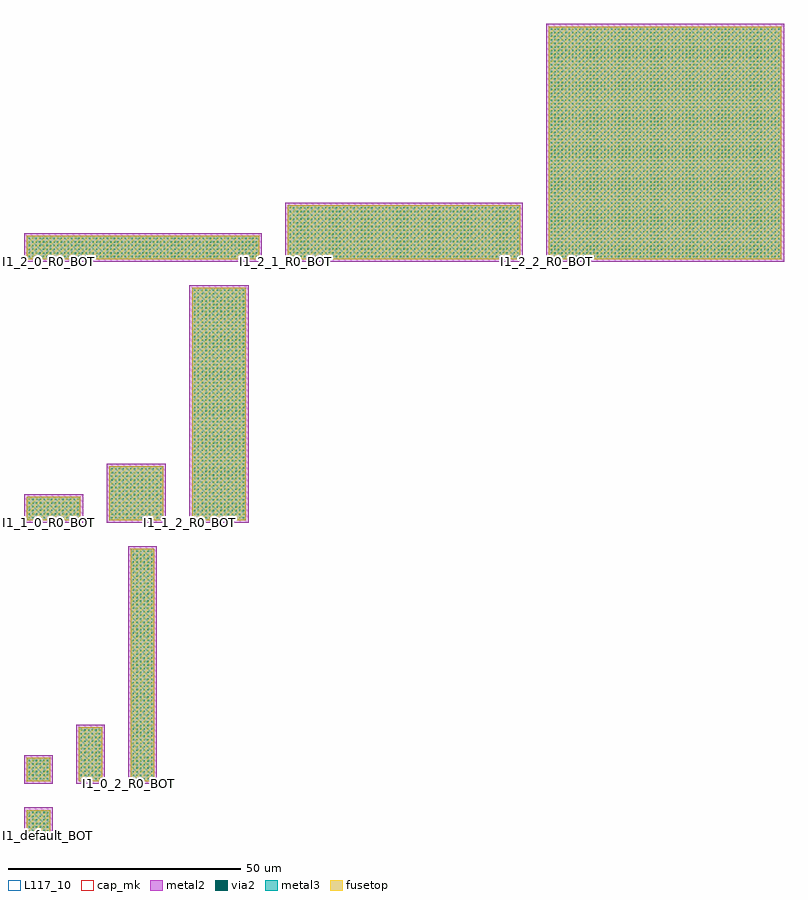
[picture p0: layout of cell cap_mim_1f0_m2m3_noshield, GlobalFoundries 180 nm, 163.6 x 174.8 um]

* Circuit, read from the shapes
.subckt cap_mim_1f0_m2m3_noshield I1_0_0_R0_BOT I1_0_0_R0_TOP I1_0_1_R0_BOT I1_0_1_R0_TOP I1_0_2_R0_BOT I1_0_2_R0_TOP I1_1_0_R0_BOT I1_1_0_R0_TOP I1_1_1_R0_BOT I1_1_1_R0_TOP I1_1_2_R0_BOT I1_1_2_R0_TOP I1_2_0_R0_BOT I1_2_0_R0_TOP I1_2_1_R0_BOT I1_2_1_R0_TOP I1_2_2_R0_BOT I1_2_2_R0_TOP I1_default_BOT I1_default_TOP
XC1 I1_default_TOP I1_default_BOT cap_mim_2f0fF c_width=5u c_length=5u
XC2 I1_0_0_R0_TOP I1_0_0_R0_BOT cap_mim_2f0fF c_width=5u c_length=5u
XC3 I1_1_0_R0_TOP I1_1_0_R0_BOT cap_mim_2f0fF c_width=11.56u c_length=5u
XC4 I1_2_0_R0_TOP I1_2_0_R0_BOT cap_mim_2f0fF c_width=50u c_length=5u
XC5 I1_0_1_R0_TOP I1_0_1_R0_BOT cap_mim_2f0fF c_width=5u c_length=11.56u
XC6 I1_1_1_R0_TOP I1_1_1_R0_BOT cap_mim_2f0fF c_width=11.56u c_length=11.56u
XC7 I1_0_2_R0_TOP I1_0_2_R0_BOT cap_mim_2f0fF c_width=5u c_length=50u
XC8 I1_1_2_R0_TOP I1_1_2_R0_BOT cap_mim_2f0fF c_width=11.56u c_length=50u
XC9 I1_2_1_R0_TOP I1_2_1_R0_BOT cap_mim_2f0fF c_width=50u c_length=11.56u
XC10 I1_2_2_R0_TOP I1_2_2_R0_BOT cap_mim_2f0fF c_width=50u c_length=50u
.ends

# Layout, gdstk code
import gdstk
lib = gdstk.Library(unit=1e-6, precision=1e-09)
def R(c, l, rs):  # rectangles x0, y0, x1, y1
    for r in rs: c.add(gdstk.rectangle(r[:2], r[2:], *l))
def A(c, l, x, y, w, h, nx, ny, dx, dy):  # array of equal rectangles
    R(c, l, [(x+i*dx, y+j*dy, x+i*dx+w, y+j*dy+h) for i in range(nx) for j in range(ny)])
metal2 = (36, 0)
via2 = (38, 0)
metal3 = (42, 0)
fusetop = (75, 0)
cap_mk = (117, 5)
L117_10 = (117, 10)

cap_mim_1p0ff_cdns_63091 = lib.new_cell('cap_mim_1p0fF_CDNS_630918095510')
R(cap_mim_1p0ff_cdns_63091, metal2, [(-0.6,-0.6,5.6,5.6)])
A(cap_mim_1p0ff_cdns_63091, via2, 0.4, 0.4, 0.26, 0.26, 4, 4, 0.79, 0.79)
A(cap_mim_1p0ff_cdns_63091, via2, 3.555, 0.4, 0.26, 0.26, 1, 4, 0, 0.79)
A(cap_mim_1p0ff_cdns_63091, via2, 4.34, 0.4, 0.26, 0.26, 1, 4, 0, 0.79)
A(cap_mim_1p0ff_cdns_63091, via2, 0.4, 3.555, 0.26, 0.26, 4, 2, 0.79, 0.785)
R(cap_mim_1p0ff_cdns_63091, via2, [(3.555,3.555,3.815,3.815), (4.34,3.555,4.6,3.815), (3.555,4.34,3.815,4.6), (4.34,4.34,4.6,4.6)])
R(cap_mim_1p0ff_cdns_63091, metal3, [(0,0,5,5)])
R(cap_mim_1p0ff_cdns_63091, fusetop, [(0,0,5,5)])
R(cap_mim_1p0ff_cdns_63091, cap_mk, [(-0.6,-0.6,5.6,5.6)])
R(cap_mim_1p0ff_cdns_63091, L117_10, [(0,0,5,0.1)])
cap_mim_1p0ff_cdns_63091.add(gdstk.Label('BOT', (2.5,2.5), layer=36, texttype=0))
cap_mim_1p0ff_cdns_63091.add(gdstk.Label('TOP', (2.5,2.5), layer=42, texttype=0))

c_cap_mim_1p0ff_cdns_63091 = lib.new_cell('cap_mim_1p0fF_CDNS_630918095511')
R(c_cap_mim_1p0ff_cdns_63091, metal2, [(-0.6,-0.6,5.6,5.6)])
A(c_cap_mim_1p0ff_cdns_63091, via2, 0.4, 0.4, 0.26, 0.26, 4, 4, 0.79, 0.79)
A(c_cap_mim_1p0ff_cdns_63091, via2, 3.555, 0.4, 0.26, 0.26, 1, 4, 0, 0.79)
A(c_cap_mim_1p0ff_cdns_63091, via2, 4.34, 0.4, 0.26, 0.26, 1, 4, 0, 0.79)
A(c_cap_mim_1p0ff_cdns_63091, via2, 0.4, 3.555, 0.26, 0.26, 4, 2, 0.79, 0.785)
R(c_cap_mim_1p0ff_cdns_63091, via2, [(3.555,3.555,3.815,3.815), (4.34,3.555,4.6,3.815), (3.555,4.34,3.815,4.6), (4.34,4.34,4.6,4.6)])
R(c_cap_mim_1p0ff_cdns_63091, metal3, [(0,0,5,5)])
R(c_cap_mim_1p0ff_cdns_63091, fusetop, [(0,0,5,5)])
R(c_cap_mim_1p0ff_cdns_63091, cap_mk, [(-0.6,-0.6,5.6,5.6)])
R(c_cap_mim_1p0ff_cdns_63091, L117_10, [(0,0,5,0.1)])
c_cap_mim_1p0ff_cdns_63091.add(gdstk.Label('BOT', (2.5,2.5), layer=36, texttype=0))
c_cap_mim_1p0ff_cdns_63091.add(gdstk.Label('TOP', (2.5,2.5), layer=42, texttype=0))

c_cap_mim_1p0ff_cdns_63091_ = lib.new_cell('cap_mim_1p0fF_CDNS_630918095512')
R(c_cap_mim_1p0ff_cdns_63091_, metal2, [(-0.6,-0.6,5.6,12.16)])
A(c_cap_mim_1p0ff_cdns_63091_, via2, 0.4, 0.4, 0.26, 0.26, 4, 8, 0.79, 0.81)
A(c_cap_mim_1p0ff_cdns_63091_, via2, 3.555, 0.4, 0.26, 0.26, 1, 8, 0, 0.81)
A(c_cap_mim_1p0ff_cdns_63091_, via2, 4.34, 0.4, 0.26, 0.26, 1, 8, 0, 0.81)
A(c_cap_mim_1p0ff_cdns_63091_, via2, 0.4, 6.875, 0.26, 0.26, 4, 6, 0.79, 0.805)
A(c_cap_mim_1p0ff_cdns_63091_, via2, 3.555, 6.875, 0.26, 0.26, 1, 6, 0, 0.805)
A(c_cap_mim_1p0ff_cdns_63091_, via2, 4.34, 6.875, 0.26, 0.26, 1, 6, 0, 0.805)
R(c_cap_mim_1p0ff_cdns_63091_, metal3, [(0,0,5,11.56)])
R(c_cap_mim_1p0ff_cdns_63091_, fusetop, [(0,0,5,11.56)])
R(c_cap_mim_1p0ff_cdns_63091_, cap_mk, [(-0.6,-0.6,5.6,12.16)])
R(c_cap_mim_1p0ff_cdns_63091_, L117_10, [(0,0,5,0.1)])
c_cap_mim_1p0ff_cdns_63091_.add(gdstk.Label('BOT', (2.5,5.78), layer=36, texttype=0))
c_cap_mim_1p0ff_cdns_63091_.add(gdstk.Label('TOP', (2.5,5.78), layer=42, texttype=0))

c_cap_mim_1p0ff_cdns_63091__ = lib.new_cell('cap_mim_1p0fF_CDNS_630918095513')
R(c_cap_mim_1p0ff_cdns_63091__, metal2, [(-0.6,-0.6,5.6,50.6)])
A(c_cap_mim_1p0ff_cdns_63091__, via2, 0.4, 0.4, 0.26, 0.26, 4, 61, 0.79, 0.765)
A(c_cap_mim_1p0ff_cdns_63091__, via2, 3.555, 0.4, 0.26, 0.26, 1, 61, 0, 0.765)
A(c_cap_mim_1p0ff_cdns_63091__, via2, 4.34, 0.4, 0.26, 0.26, 1, 61, 0, 0.765)
A(c_cap_mim_1p0ff_cdns_63091__, via2, 0.4, 47.06, 0.26, 0.26, 4, 4, 0.79, 0.76)
A(c_cap_mim_1p0ff_cdns_63091__, via2, 3.555, 47.06, 0.26, 0.26, 1, 4, 0, 0.76)
A(c_cap_mim_1p0ff_cdns_63091__, via2, 4.34, 47.06, 0.26, 0.26, 1, 4, 0, 0.76)
R(c_cap_mim_1p0ff_cdns_63091__, metal3, [(0,0,5,50)])
R(c_cap_mim_1p0ff_cdns_63091__, fusetop, [(0,0,5,50)])
R(c_cap_mim_1p0ff_cdns_63091__, cap_mk, [(-0.6,-0.6,5.6,50.6)])
R(c_cap_mim_1p0ff_cdns_63091__, L117_10, [(0,0,5,0.1)])
c_cap_mim_1p0ff_cdns_63091__.add(gdstk.Label('BOT', (2.5,25), layer=36, texttype=0))
c_cap_mim_1p0ff_cdns_63091__.add(gdstk.Label('TOP', (2.5,25), layer=42, texttype=0))

c_cap_mim_1p0ff_cdns_63091___ = lib.new_cell('cap_mim_1p0fF_CDNS_630918095514')
R(c_cap_mim_1p0ff_cdns_63091___, metal2, [(-0.6,-0.6,12.16,5.6)])
A(c_cap_mim_1p0ff_cdns_63091___, via2, 0.4, 0.4, 0.26, 0.26, 8, 4, 0.81, 0.79)
A(c_cap_mim_1p0ff_cdns_63091___, via2, 6.875, 0.4, 0.26, 0.26, 6, 4, 0.805, 0.79)
A(c_cap_mim_1p0ff_cdns_63091___, via2, 0.4, 3.555, 0.26, 0.26, 8, 2, 0.81, 0.785)
A(c_cap_mim_1p0ff_cdns_63091___, via2, 6.875, 3.555, 0.26, 0.26, 6, 2, 0.805, 0.785)
R(c_cap_mim_1p0ff_cdns_63091___, metal3, [(0,0,11.56,5)])
R(c_cap_mim_1p0ff_cdns_63091___, fusetop, [(0,0,11.56,5)])
R(c_cap_mim_1p0ff_cdns_63091___, cap_mk, [(-0.6,-0.6,12.16,5.6)])
R(c_cap_mim_1p0ff_cdns_63091___, L117_10, [(0,0,11.56,0.1)])
c_cap_mim_1p0ff_cdns_63091___.add(gdstk.Label('BOT', (5.78,2.5), layer=36, texttype=0))
c_cap_mim_1p0ff_cdns_63091___.add(gdstk.Label('TOP', (5.78,2.5), layer=42, texttype=0))

c_cap_mim_1p0ff_cdns_63091____ = lib.new_cell('cap_mim_1p0fF_CDNS_630918095515')
R(c_cap_mim_1p0ff_cdns_63091____, metal2, [(-0.6,-0.6,12.16,12.16)])
A(c_cap_mim_1p0ff_cdns_63091____, via2, 0.4, 0.4, 0.26, 0.26, 8, 8, 0.81, 0.81)
A(c_cap_mim_1p0ff_cdns_63091____, via2, 6.875, 0.4, 0.26, 0.26, 6, 8, 0.805, 0.81)
A(c_cap_mim_1p0ff_cdns_63091____, via2, 0.4, 6.875, 0.26, 0.26, 8, 6, 0.81, 0.805)
A(c_cap_mim_1p0ff_cdns_63091____, via2, 6.875, 6.875, 0.26, 0.26, 6, 6, 0.805, 0.805)
R(c_cap_mim_1p0ff_cdns_63091____, metal3, [(0,0,11.56,11.56)])
R(c_cap_mim_1p0ff_cdns_63091____, fusetop, [(0,0,11.56,11.56)])
R(c_cap_mim_1p0ff_cdns_63091____, cap_mk, [(-0.6,-0.6,12.16,12.16)])
R(c_cap_mim_1p0ff_cdns_63091____, L117_10, [(0,0,11.56,0.1)])
c_cap_mim_1p0ff_cdns_63091____.add(gdstk.Label('BOT', (5.78,5.78), layer=36, texttype=0))
c_cap_mim_1p0ff_cdns_63091____.add(gdstk.Label('TOP', (5.78,5.78), layer=42, texttype=0))

c_cap_mim_1p0ff_cdns_63091_____ = lib.new_cell('cap_mim_1p0fF_CDNS_630918095516')
R(c_cap_mim_1p0ff_cdns_63091_____, metal2, [(-0.6,-0.6,12.16,50.6)])
A(c_cap_mim_1p0ff_cdns_63091_____, via2, 0.4, 0.4, 0.26, 0.26, 8, 61, 0.81, 0.765)
A(c_cap_mim_1p0ff_cdns_63091_____, via2, 6.875, 0.4, 0.26, 0.26, 6, 61, 0.805, 0.765)
A(c_cap_mim_1p0ff_cdns_63091_____, via2, 0.4, 47.06, 0.26, 0.26, 8, 4, 0.81, 0.76)
A(c_cap_mim_1p0ff_cdns_63091_____, via2, 6.875, 47.06, 0.26, 0.26, 6, 4, 0.805, 0.76)
R(c_cap_mim_1p0ff_cdns_63091_____, metal3, [(0,0,11.56,50)])
R(c_cap_mim_1p0ff_cdns_63091_____, fusetop, [(0,0,11.56,50)])
R(c_cap_mim_1p0ff_cdns_63091_____, cap_mk, [(-0.6,-0.6,12.16,50.6)])
R(c_cap_mim_1p0ff_cdns_63091_____, L117_10, [(0,0,11.56,0.1)])
c_cap_mim_1p0ff_cdns_63091_____.add(gdstk.Label('BOT', (5.78,25), layer=36, texttype=0))
c_cap_mim_1p0ff_cdns_63091_____.add(gdstk.Label('TOP', (5.78,25), layer=42, texttype=0))

c_cap_mim_1p0ff_cdns_63091______ = lib.new_cell('cap_mim_1p0fF_CDNS_630918095517')
R(c_cap_mim_1p0ff_cdns_63091______, metal2, [(-0.6,-0.6,50.6,5.6)])
A(c_cap_mim_1p0ff_cdns_63091______, via2, 0.4, 0.4, 0.26, 0.26, 61, 4, 0.765, 0.79)
A(c_cap_mim_1p0ff_cdns_63091______, via2, 47.06, 0.4, 0.26, 0.26, 4, 4, 0.76, 0.79)
A(c_cap_mim_1p0ff_cdns_63091______, via2, 0.4, 3.555, 0.26, 0.26, 61, 2, 0.765, 0.785)
A(c_cap_mim_1p0ff_cdns_63091______, via2, 47.06, 3.555, 0.26, 0.26, 4, 2, 0.76, 0.785)
R(c_cap_mim_1p0ff_cdns_63091______, metal3, [(0,0,50,5)])
R(c_cap_mim_1p0ff_cdns_63091______, fusetop, [(0,0,50,5)])
R(c_cap_mim_1p0ff_cdns_63091______, cap_mk, [(-0.6,-0.6,50.6,5.6)])
R(c_cap_mim_1p0ff_cdns_63091______, L117_10, [(0,0,50,0.1)])
c_cap_mim_1p0ff_cdns_63091______.add(gdstk.Label('BOT', (25,2.5), layer=36, texttype=0))
c_cap_mim_1p0ff_cdns_63091______.add(gdstk.Label('TOP', (25,2.5), layer=42, texttype=0))

c_cap_mim_1p0ff_cdns_63091_______ = lib.new_cell('cap_mim_1p0fF_CDNS_630918095518')
R(c_cap_mim_1p0ff_cdns_63091_______, metal2, [(-0.6,-0.6,50.6,12.16)])
A(c_cap_mim_1p0ff_cdns_63091_______, via2, 0.4, 0.4, 0.26, 0.26, 61, 8, 0.765, 0.81)
A(c_cap_mim_1p0ff_cdns_63091_______, via2, 47.06, 0.4, 0.26, 0.26, 4, 8, 0.76, 0.81)
A(c_cap_mim_1p0ff_cdns_63091_______, via2, 0.4, 6.875, 0.26, 0.26, 61, 6, 0.765, 0.805)
A(c_cap_mim_1p0ff_cdns_63091_______, via2, 47.06, 6.875, 0.26, 0.26, 4, 6, 0.76, 0.805)
R(c_cap_mim_1p0ff_cdns_63091_______, metal3, [(0,0,50,11.56)])
R(c_cap_mim_1p0ff_cdns_63091_______, fusetop, [(0,0,50,11.56)])
R(c_cap_mim_1p0ff_cdns_63091_______, cap_mk, [(-0.6,-0.6,50.6,12.16)])
R(c_cap_mim_1p0ff_cdns_63091_______, L117_10, [(0,0,50,0.1)])
c_cap_mim_1p0ff_cdns_63091_______.add(gdstk.Label('BOT', (25,5.78), layer=36, texttype=0))
c_cap_mim_1p0ff_cdns_63091_______.add(gdstk.Label('TOP', (25,5.78), layer=42, texttype=0))

c_cap_mim_1p0ff_cdns_63091________ = lib.new_cell('cap_mim_1p0fF_CDNS_630918095519')
R(c_cap_mim_1p0ff_cdns_63091________, metal2, [(-0.6,-0.6,50.6,50.6)])
A(c_cap_mim_1p0ff_cdns_63091________, via2, 0.4, 0.4, 0.26, 0.26, 61, 61, 0.765, 0.765)
A(c_cap_mim_1p0ff_cdns_63091________, via2, 47.06, 0.4, 0.26, 0.26, 4, 61, 0.76, 0.765)
A(c_cap_mim_1p0ff_cdns_63091________, via2, 0.4, 47.06, 0.26, 0.26, 61, 4, 0.765, 0.76)
A(c_cap_mim_1p0ff_cdns_63091________, via2, 47.06, 47.06, 0.26, 0.26, 4, 4, 0.76, 0.76)
R(c_cap_mim_1p0ff_cdns_63091________, metal3, [(0,0,50,50)])
R(c_cap_mim_1p0ff_cdns_63091________, fusetop, [(0,0,50,50)])
R(c_cap_mim_1p0ff_cdns_63091________, cap_mk, [(-0.6,-0.6,50.6,50.6)])
R(c_cap_mim_1p0ff_cdns_63091________, L117_10, [(0,0,50,0.1)])
c_cap_mim_1p0ff_cdns_63091________.add(gdstk.Label('BOT', (25,25), layer=36, texttype=0))
c_cap_mim_1p0ff_cdns_63091________.add(gdstk.Label('TOP', (25,25), layer=42, texttype=0))

cap_mim_1f0_m2m3_noshiel = lib.new_cell('cap_mim_1f0_m2m3_noshield')
cap_mim_1f0_m2m3_noshiel.add(gdstk.Reference(cap_mim_1p0ff_cdns_63091, (0.6,0.6)))
cap_mim_1f0_m2m3_noshiel.add(gdstk.Reference(c_cap_mim_1p0ff_cdns_63091, (0.6,11.8)))
cap_mim_1f0_m2m3_noshiel.add(gdstk.Reference(c_cap_mim_1p0ff_cdns_63091_, (11.8,11.8)))
cap_mim_1f0_m2m3_noshiel.add(gdstk.Reference(c_cap_mim_1p0ff_cdns_63091__, (23,11.8)))
cap_mim_1f0_m2m3_noshiel.add(gdstk.Reference(c_cap_mim_1p0ff_cdns_63091___, (0.6,68)))
cap_mim_1f0_m2m3_noshiel.add(gdstk.Reference(c_cap_mim_1p0ff_cdns_63091____, (18.4,68)))
cap_mim_1f0_m2m3_noshiel.add(gdstk.Reference(c_cap_mim_1p0ff_cdns_63091_____, (36.2,68)))
cap_mim_1f0_m2m3_noshiel.add(gdstk.Reference(c_cap_mim_1p0ff_cdns_63091______, (0.6,124.2)))
cap_mim_1f0_m2m3_noshiel.add(gdstk.Reference(c_cap_mim_1p0ff_cdns_63091_______, (56.8,124.2)))
cap_mim_1f0_m2m3_noshiel.add(gdstk.Reference(c_cap_mim_1p0ff_cdns_63091________, (113,124.2)))
cap_mim_1f0_m2m3_noshiel.add(gdstk.Label('I1_2_2_R0_BOT', (112.425,123.625), layer=36, texttype=10))
cap_mim_1f0_m2m3_noshiel.add(gdstk.Label('I1_2_1_R0_BOT', (56.225,123.625), layer=36, texttype=10))
cap_mim_1f0_m2m3_noshiel.add(gdstk.Label('I1_2_0_R0_BOT', (0.025,123.625), layer=36, texttype=10))
cap_mim_1f0_m2m3_noshiel.add(gdstk.Label('I1_1_2_R0_BOT', (35.625,67.425), layer=36, texttype=10))
cap_mim_1f0_m2m3_noshiel.add(gdstk.Label('I1_1_1_R0_BOT', (17.825,67.425), layer=36, texttype=10))
cap_mim_1f0_m2m3_noshiel.add(gdstk.Label('I1_1_0_R0_BOT', (0.025,67.425), layer=36, texttype=10))
cap_mim_1f0_m2m3_noshiel.add(gdstk.Label('I1_0_2_R0_BOT', (22.425,11.225), layer=36, texttype=10))
cap_mim_1f0_m2m3_noshiel.add(gdstk.Label('I1_0_1_R0_BOT', (11.225,11.225), layer=36, texttype=10))
cap_mim_1f0_m2m3_noshiel.add(gdstk.Label('I1_0_0_R0_BOT', (0.025,11.225), layer=36, texttype=10))
cap_mim_1f0_m2m3_noshiel.add(gdstk.Label('I1_default_BOT', (0.025,0.025), layer=36, texttype=10))
cap_mim_1f0_m2m3_noshiel.add(gdstk.Label('I1_2_2_R0_TOP', (113.025,124.225), layer=42, texttype=10))
cap_mim_1f0_m2m3_noshiel.add(gdstk.Label('I1_2_1_R0_TOP', (56.825,124.225), layer=42, texttype=10))
cap_mim_1f0_m2m3_noshiel.add(gdstk.Label('I1_2_0_R0_TOP', (0.625,124.225), layer=42, texttype=10))
cap_mim_1f0_m2m3_noshiel.add(gdstk.Label('I1_1_2_R0_TOP', (36.225,68.025), layer=42, texttype=10))
cap_mim_1f0_m2m3_noshiel.add(gdstk.Label('I1_1_1_R0_TOP', (18.425,68.025), layer=42, texttype=10))
cap_mim_1f0_m2m3_noshiel.add(gdstk.Label('I1_1_0_R0_TOP', (0.625,68.025), layer=42, texttype=10))
cap_mim_1f0_m2m3_noshiel.add(gdstk.Label('I1_0_2_R0_TOP', (23.025,11.825), layer=42, texttype=10))
cap_mim_1f0_m2m3_noshiel.add(gdstk.Label('I1_0_1_R0_TOP', (11.825,11.825), layer=42, texttype=10))
cap_mim_1f0_m2m3_noshiel.add(gdstk.Label('I1_0_0_R0_TOP', (0.625,11.825), layer=42, texttype=10))
cap_mim_1f0_m2m3_noshiel.add(gdstk.Label('I1_default_TOP', (0.625,0.625), layer=42, texttype=10))

lib.write_gds('cap_mim_1f0_m2m3_noshield.gds')
